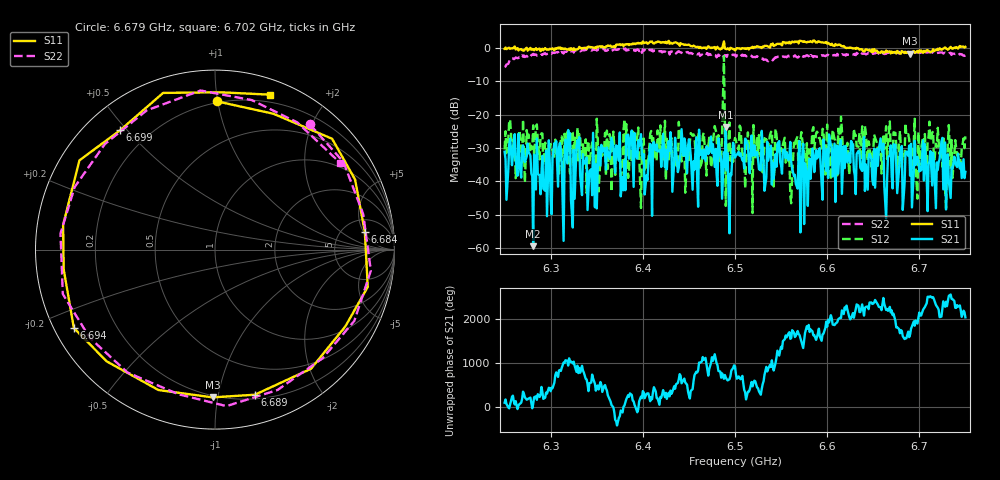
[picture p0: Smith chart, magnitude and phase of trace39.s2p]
# Hz S RI R 50
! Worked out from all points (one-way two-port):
!   401 points, 6.25 GHz to 6.75 GHz, reference 50 ohm
!   highest |S21| = -23.74 dB at 6.49 GHz (marker M1); lowest = -59.5 dB at 6.281 GHz (marker M2)
!   lowest |S11| = -1.7 dB at 6.69 GHz (marker M3), VSWR 10.33, Z = 9.44 - j48.3 ohm
!   |S11| at or under -10 dB: nowhere
!   |S22| runs from -5.7 to -0.1 dB; largest |S21 - S12| = 0.74
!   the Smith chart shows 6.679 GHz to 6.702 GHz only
!   S11 on the Smith chart (normalised r, x): 6.679 GHz: 0.19, +0.99; 6.684 GHz: 7.89, +5.35; 6.689 GHz: 0.24, -1.28; 6.694 GHz: 0.06, -0.26; 6.699 GHz: 0.10, +0.48; 6.702 GHz: 0.13, +1.41
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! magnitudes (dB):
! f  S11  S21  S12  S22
! 6.25 GHz  -0.2  -31.1  -30.4  -5.7
! 6.275 GHz  -0.8  -28.7  -27.5  -2.5
! 6.281 GHz  -0.4  -59.5  -23.2  -1.8
! 6.319 GHz  -0.5  -24.6  -26.5  -1.3
! 6.325 GHz  -0.1  -30.5  -35.6  -1.4
! 6.334 GHz  -0.2  -44.2  -33.8  -0.7
! 6.418 GHz  1.9  -30.9  -31.1  -1.0
! 6.49 GHz  -0.3  -23.7  -47.4  -2.2
! 6.5 GHz  -0.7  -32.9  -27.0  -2.0
! 6.538 GHz  0.1  -30.6  -26.1  -3.5
! 6.56 GHz  1.3  -28.2  -44.4  -2.3
! 6.584 GHz  1.7  -30.2  -24.7  -2.4
! 6.668 GHz  -1.0  -32.3  -22.0  -1.6
! 6.679 GHz  -1.7  -31.4  -24.8  -1.2
! 6.684 GHz  -1.5  -40.7  -32.3  -1.2
! 6.689 GHz  -1.5  -29.3  -27.4  -1.6
! 6.69 GHz  -1.7  -38.3  -31.0  -1.5
! 6.694 GHz  -0.9  -37.1  -28.5  -1.3
! 6.699 GHz  -1.4  -33.8  -25.2  -1.0
! 6.702 GHz  -0.8  -36.7  -30.1  -1.4
! 6.728 GHz  0.2  -28.3  -42.2  -1.4
! 6.75 GHz  0.3  -37.2  -26.5  -2.2
